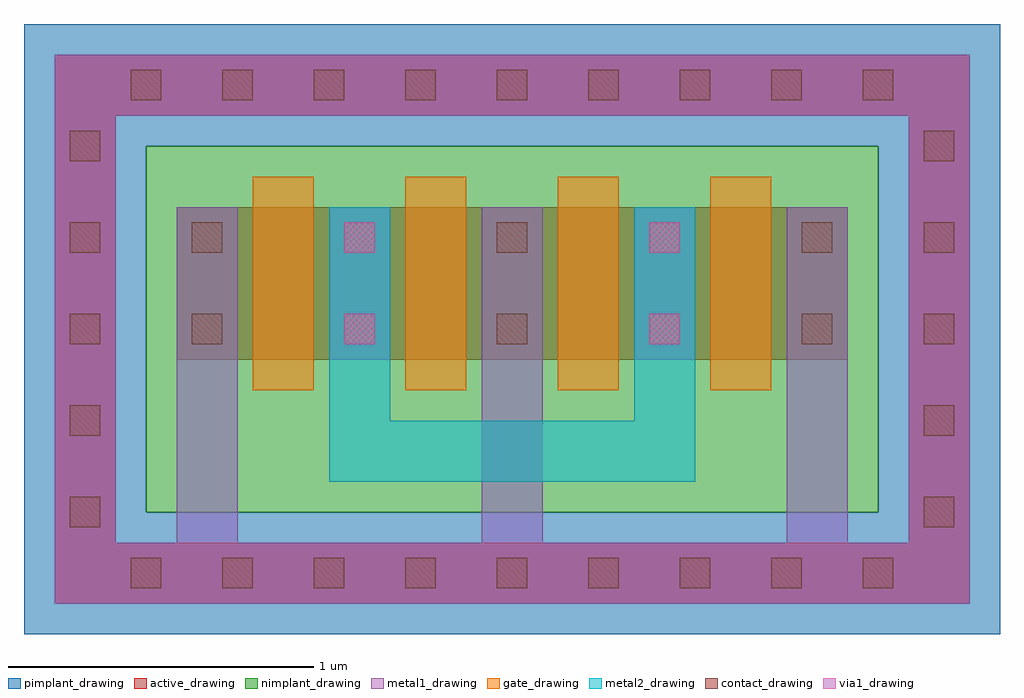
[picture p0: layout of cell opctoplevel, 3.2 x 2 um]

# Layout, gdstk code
import gdstk
lib = gdstk.Library(unit=1e-6, precision=1e-09)
def R(c, l, rs):  # rectangles x0, y0, x1, y1
    for r in rs: c.add(gdstk.rectangle(r[:2], r[2:], *l))
def A(c, l, x, y, w, h, nx, ny, dx, dy):  # array of equal rectangles
    R(c, l, [(x+i*dx, y+j*dy, x+i*dx+w, y+j*dy+h) for i in range(nx) for j in range(ny)])
active_drawing = (1, 0)
pimplant_drawing = (4, 0)
nimplant_drawing = (5, 0)
gate_drawing = (6, 0)
contact_drawing = (7, 0)
metal1_drawing = (8, 0)
via1_drawing = (9, 0)
metal2_drawing = (10, 0)

opctoplevel = lib.new_cell('opctoplevel')
R(opctoplevel, active_drawing, [(-0.65,-0.8,2.35,-0.6), (-0.65,-0.8,-0.45,1), (2.15,-0.8,2.35,1), (-0.25,0,1.95,0.5), (-0.65,0.8,2.35,1)])
R(opctoplevel, pimplant_drawing, [(-0.75,-0.9,2.45,-0.5), (-0.75,-0.9,-0.35,1.1), (2.05,-0.9,2.45,1.1), (-0.75,0.7,2.45,1.1)])
R(opctoplevel, nimplant_drawing, [(-0.35,-0.5,2.05,0.7)])
A(opctoplevel, gate_drawing, 0, -0.1, 0.2, 0.7, 4, 1, 0.5, 0)
A(opctoplevel, contact_drawing, -0.4, -0.75, 0.1, 0.1, 9, 2, 0.3, 1.6)
A(opctoplevel, contact_drawing, -0.6, -0.55, 0.1, 0.1, 1, 5, 0, 0.3)
A(opctoplevel, contact_drawing, 2.2, -0.55, 0.1, 0.1, 1, 5, 0, 0.3)
A(opctoplevel, contact_drawing, -0.2, 0.05, 0.1, 0.1, 5, 2, 0.5, 0.3)
A(opctoplevel, metal1_drawing, -0.25, -0.6, 0.2, 0.6, 3, 1, 1, 0)
A(opctoplevel, metal1_drawing, -0.25, 0, 0.2, 0.5, 5, 1, 0.5, 0)
R(opctoplevel, metal1_drawing, [(-0.65,-0.8,2.35,-0.6), (-0.65,-0.8,-0.45,1), (2.15,-0.8,2.35,1), (-0.65,0.8,2.35,1)])
R(opctoplevel, via1_drawing, [(0.3,0.05,0.4,0.15), (1.3,0.05,1.4,0.15), (0.3,0.35,0.4,0.45), (1.3,0.35,1.4,0.45)])
R(opctoplevel, metal2_drawing, [(0.25,-0.4,1.45,-0.2), (0.25,-0.2,0.45,0), (1.25,-0.2,1.45,0), (0.25,0,0.45,0.5), (1.25,0,1.45,0.5)])

lib.write_gds('opctoplevel.gds')
